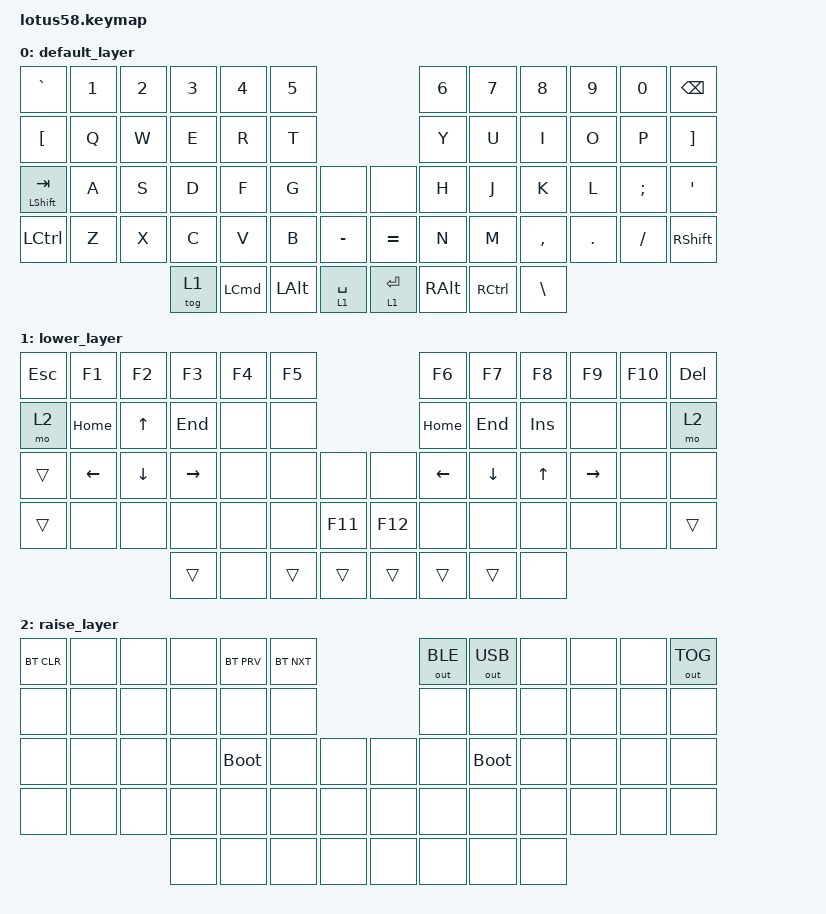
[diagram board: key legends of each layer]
/*
 * Copyright (c) 2022 The ZMK Contributors
 *
 * SPDX-License-Identifier: MIT
 */

#include <behaviors.dtsi>
#include <dt-bindings/zmk/bt.h>
#include <dt-bindings/zmk/keys.h>
#include <dt-bindings/zmk/outputs.h>

/ {
    keymap {
        compatible = "zmk,keymap";

        default_layer {
            //   --------------------------------------------------------------------------------------------------------------------
            //  0|   ~   |   1   |   2   |   3   |   4   |   5   |                  |   6   |   7   |   8   |   9   |   0   | BSPC  | 11
            // 12|   [   |   Q   |   W   |   E   |   R   |   T   |                  |   Y   |   U   |   I   |   O   |   P   |   ]   | 23
            // 24|SFT TAB|   A   |   S   |   D   |   F   |   G   |       |  |  MUTE |   H   |   J   |   K   |   L   |   ;   |   '   | 37
            // 38|  CTRL |   Z   |   X   |   C   |   V   |   B   |   -   |  |   =   |   N   |   M   |   ,   |   .   |   /   |  SFT  | 51
            // 52                        |ESC LW |  CMD  |ALT SPC|SPC LW |  |ENTR LW|ALT SPC|  CTRL |   \   |                         59

            bindings = <
&kp GRAVE           &kp NUMBER_1  &kp NUMBER_2  &kp NUMBER_3  &kp NUMBER_4      &kp NUMBER_5                            &kp NUMBER_6  &kp NUMBER_7  &kp NUMBER_8   &kp NUMBER_9  &kp NUMBER_0  &kp BACKSPACE
&kp LEFT_BRACKET    &kp Q         &kp W         &kp E         &kp R             &kp T                                   &kp Y         &kp U         &kp I          &kp O         &kp P         &kp RIGHT_BRACKET
&mt LEFT_SHIFT TAB  &kp A         &kp S         &kp D         &kp F             &kp G         &none        &none        &kp H         &kp J         &kp K          &kp L         &kp SEMI      &kp SINGLE_QUOTE
&kp LCTRL           &kp Z         &kp X         &kp C         &kp V             &kp B         &kp MINUS    &kp EQUAL    &kp N         &kp M         &kp COMMA      &kp DOT       &kp FSLH      &kp RSHFT
                                                &tog 1        &kp LEFT_COMMAND  &kp LALT      &lt 1 SPACE  &lt 1 ENTER  &kp RALT      &kp RCTRL     &kp BACKSLASH
            >;
        };

        lower_layer {
            // --------------------------------------------------------------------------------------------------------------
            // | ESC  |  F1  |  F2  |  F3  |  F4  |  F5   |                  |  F6   |  F7   |  F8   |  F9  |  F10  |  DEL  |
            // |      | HOME |   ^  |  END |      |       |                  | HOME  |  END  |  INS  |      |       |       |
            // |      |  <-  |   v  |  ->  |      |       |       |  |       |  <-   |   v   |   ^   |  ->  |       |       |
            // |      |      |      |      |      |       |  F11  |  |  F12  |       |       |       |      |       |  SFT  |
            //                      |ESC LW|  RS  |ALT SPC|SPC LW |  |ENTR LW|ALT SPC|  CTRL |   RS  |       

            bindings = <
&kp ESC  &kp F1    &kp F2    &kp F3     &kp F4  &kp F5                    &kp F6    &kp F7    &kp F8   &kp F9     &kp F10  &kp DEL
&mo 2    &kp HOME  &kp UP    &kp END    &none   &none                     &kp HOME  &kp END   &kp INS  &none      &none    &mo 2
&trans   &kp LEFT  &kp DOWN  &kp RIGHT  &none   &none   &none    &none    &kp LEFT  &kp DOWN  &kp UP   &kp RIGHT  &none    &none
&trans   &none     &none     &none      &none   &none   &kp F11  &kp F12  &none     &none     &none    &none      &none    &trans
                             &trans     &none   &trans  &trans   &trans   &trans    &trans    &none
            >;
        };

        raise_layer {
            // ----------------------------------------------------------------------------------------------------------
            // |BTCLR|      |      |       | BTPREV| BTNEXT|                |OUTBT |OUTUSB|       |      | RESET |OUTTOG|
            // |     |      |      |       |       |       |                |      |      |       |      |       |      |
            // |FLASH|      |      |       |       |       |      |  |      |      |      |       |      |  DEL  |FLASH |
            // |RESET|      |      |       |       |       |      |  |      |      |      |       |      |       |RESET |
            //                     |       |       |       |      |  |      |      |      |       |       

            bindings = <
&bt BT_CLR  &none  &none  &none  &bt BT_PRV   &bt BT_NXT                &out OUT_BLE  &out OUT_USB  &none  &none  &none  &out OUT_TOG
&none       &none  &none  &none  &none        &none                     &none         &none         &none  &none  &none  &none
&none       &none  &none  &none  &bootloader  &none       &none  &none  &none         &bootloader   &none  &none  &none  &none
&none       &none  &none  &none  &none        &none       &none  &none  &none         &none         &none  &none  &none  &none
                          &none  &none        &none       &none  &none  &none         &none         &none
            >;
        };
    };
};
